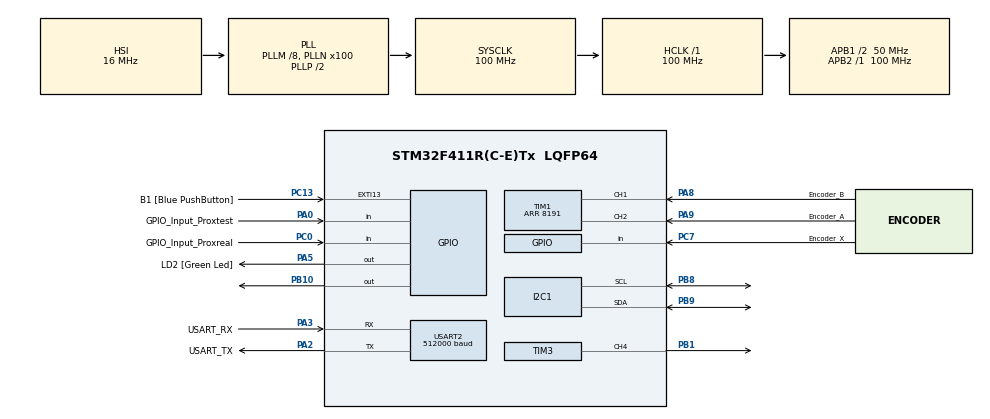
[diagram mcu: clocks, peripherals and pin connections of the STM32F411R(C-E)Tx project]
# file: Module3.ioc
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Mcu.Family=STM32F4
RCC.CortexFreq_Value=100000000
Dma.USART2_TX.1.MemInc=DMA_MINC_ENABLE
PA14.GPIO_Label=TCK
USART2.Parity=PARITY_EVEN
PC0.GPIO_Label=GPIO_Input_Proxreal
TIM1.EncoderMode=TIM_ENCODERMODE_TI12
TIM3.Channel-PWM\ Generation4\ CH4=TIM_CHANNEL_4
RCC.SYSCLKSource=RCC_SYSCLKSOURCE_PLLCLK
ProjectManager.StackSize=0x400
PH0\ -\ OSC_IN.Signal=RCC_OSC_IN
Dma.USART2_RX.0.Priority=DMA_PRIORITY_LOW
Dma.USART2_RX.0.PeriphDataAlignment=DMA_PDATAALIGN_BYTE
RCC.HCLKFreq_Value=100000000
RCC.APB2TimFreq_Value=100000000
TIM3.Period=10000
PC7.Signal=GPIO_Input
Dma.USART2_TX.1.Mode=DMA_NORMAL
RCC.AHBFreq_Value=100000000
NVIC.EXTI15_10_IRQn=true\:0\:0\:false\:false\:true\:true\:true
RCC.HSE_VALUE=8000000
PC13-ANTI_TAMP.Signal=GPXTI13
Dma.USART2_RX.0.MemDataAlignment=DMA_MDATAALIGN_BYTE
PC14-OSC32_IN.Mode=LSE-External-Oscillator
PA14.Mode=Serial_Wire
Dma.USART2_TX.1.Instance=DMA1_Stream6
NVIC.TIM2_IRQn=true\:0\:0\:false\:false\:true\:true\:true
Dma.USART2_RX.0.Instance=DMA1_Stream5
PA8.Signal=S_TIM1_CH1
TIM4.Period=1000
RCC.FLatency-AdvancedSettings=FLASH_LATENCY_3
PB9.Signal=I2C1_SDA
Mcu.Package=LQFP64
TIM2.Prescaler=99
PB1.Signal=S_TIM3_CH4
Dma.USART2_RX.0.PeriphInc=DMA_PINC_DISABLE
USART2.VirtualMode=VM_ASYNC
Dma.USART2_RX.0.FIFOMode=DMA_FIFOMODE_DISABLE
PA2.GPIO_Label=USART_TX
USART2.WordLength=WORDLENGTH_9B
Dma.Request1=USART2_TX
RCC.APB1TimFreq_Value=100000000
TIM1.Period=8191
NVIC.DMA1_Stream6_IRQn=true\:0\:0\:false\:false\:true\:false\:true
Dma.Request0=USART2_RX
VP_TIM3_VS_ClockSourceINT.Mode=Internal
PA3.Signal=USART2_RX
PB3.GPIO_Label=SWO
PC15-OSC32_OUT.Mode=LSE-External-Oscillator
Dma.USART2_TX.1.Priority=DMA_PRIORITY_LOW
TIM2.CounterMode=TIM_COUNTERMODE_UP
Dma.USART2_TX.1.FIFOMode=DMA_FIFOMODE_DISABLE
PC13-ANTI_TAMP.GPIO_Label=B1 [Blue PushButton]
PA9.GPIO_Label=Encoder_A
PH1\ -\ OSC_OUT.Mode=HSE-External-Clock-Source
Dma.USART2_RX.0.Direction=DMA_PERIPH_TO_MEMORY
PC0.Signal=GPIO_Input
RCC.APB1CLKDivider=RCC_HCLK_DIV2
PC14-OSC32_IN.Signal=RCC_OSC32_IN
Dma.USART2_TX.1.PeriphDataAlignment=DMA_PDATAALIGN_BYTE
NVIC.USART2_IRQn=true\:0\:0\:false\:false\:true\:true\:true
USART2.BaudRate=512000
PA0-WKUP.GPIO_Label=GPIO_Input_Proxtest
PA0-WKUP.Signal=GPIO_Input
Dma.USART2_RX.0.Mode=DMA_CIRCULAR
PA3.Mode=Asynchronous
PA13.Signal=SYS_JTMS-SWDIO
PH0\ -\ OSC_IN.Mode=HSE-External-Clock-Source
PA8.GPIO_Label=Encoder_B
SH.S_TIM1_CH1.0=TIM1_CH1,Encoder_Interface
ProjectManager.TargetToolchain=STM32CubeIDE
NVIC.DMA1_Stream5_IRQn=true\:0\:0\:false\:false\:true\:false\:true
PB9.Mode=I2C
PA9.Signal=S_TIM1_CH2
PC15-OSC32_OUT.Signal=RCC_OSC32_OUT
PB10.Signal=GPIO_Output
PA5.Signal=GPIO_Output
PH1\ -\ OSC_OUT.Signal=RCC_OSC_OUT
Dma.USART2_TX.1.PeriphInc=DMA_PINC_DISABLE
board=NUCLEO-F411RE
RCC.VCOOutputFreq_Value=200000000
Dma.USART2_TX.1.Direction=DMA_MEMORY_TO_PERIPH
RCC.APB2Freq_Value=100000000
SH.S_TIM1_CH2.0=TIM1_CH2,Encoder_Interface
VP_TIM2_VS_ClockSourceINT.Mode=Internal
PA13.Mode=Serial_Wire
Mcu.Name=STM32F411R(C-E)Tx
Dma.USART2_RX.0.MemInc=DMA_MINC_ENABLE
PA2.Signal=USART2_TX
PA13.GPIO_Label=TMS
PC7.GPIO_Label=Encoder_X
RCC.48MHZClocksFreq_Value=50000000
PB3.Signal=SYS_JTDO-SWO
RCC.SYSCLKFreq_VALUE=100000000
PA5.GPIO_Label=LD2 [Green Led]
PC13-ANTI_TAMP.GPIO_ModeDefaultEXTI=GPIO_MODE_IT_FALLING
PA14.Signal=SYS_JTCK-SWCLK
ProjectManager.HeapSize=0x200
RCC.HSI_VALUE=16000000
VP_TIM4_VS_ClockSourceINT.Mode=Internal
NVIC.PriorityGroup=NVIC_PRIORITYGROUP_0
RCC.PLLM=8
PB8.Mode=I2C
RCC.PLLN=100
PA2.Mode=Asynchronous
PB8.Signal=I2C1_SCL
Dma.USART2_TX.1.MemDataAlignment=DMA_MDATAALIGN_BYTE
NVIC.TIM4_IRQn=true\:0\:0\:false\:false\:true\:true\:true
RCC.APB1Freq_Value=50000000
PA3.GPIO_Label=USART_RX
SH.S_TIM3_CH4.0=TIM3_CH4,PWM Generation4 CH4

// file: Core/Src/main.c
/* USER CODE BEGIN Header */
/**
  ******************************************************************************
  * @file           : main.c
  * @brief          : Main program body
  ******************************************************************************
  * @attention
  *
  * <h2><center>&copy; Copyright (c) 2021 STMicroelectronics.
  * All rights reserved.</center></h2>
  *
  * This software component is licensed by ST under BSD 3-Clause license,
  * the "License"; You may not use this file except in compliance with the
  * License. You may obtain a copy of the License at:
  *                        opensource.org/licenses/BSD-3-Clause
  *
  ******************************************************************************
  */
/* USER CODE END Header */
#include "main.h"

/* USER CODE BEGIN Includes */
#include "math.h"
#include "string.h"
#include "stdio.h"
#include <stdlib.h>

/* USER CODE END Includes */

/* USER CODE BEGIN PD */
#define PWM_CHANNEL TIM_CHANNEL_4			//Set channel for PWM
#define GPIO_PIN_DIRECTION GPIO_PIN_10		//Set pin for direction

/* USER CODE END PD */

I2C_HandleTypeDef hi2c1;

TIM_HandleTypeDef htim1;
TIM_HandleTypeDef htim2;
TIM_HandleTypeDef htim3;
TIM_HandleTypeDef htim4;

UART_HandleTypeDef huart2;
DMA_HandleTypeDef hdma_usart2_rx;
DMA_HandleTypeDef hdma_usart2_tx;

/* USER CODE BEGIN PV */

uint8_t Connected = 1;
uint8_t Effector_On = 0;
uint8_t Error = 0;

uint64_t _micros = 0;				//Keep track of time
uint64_t Time_Sampling_Stamp = 0;	//Control loop time stamp
uint64_t Time_Measure_Stamp = 0;
uint16_t Encoder_Resolution = 8192; //2048*4
uint16_t Encoder_Overflow = 4096;	//8192/2
float pi = 3.14159;			//value of pi
const uint16_t Station_List[10] = {0,30,60,90,120,150,180,210,240,270};
uint8_t Current_Station = 1;
uint8_t Next_Station = 1;
uint8_t N_Goal = 0;
uint8_t Goal_Count = 0;
uint8_t Goal_List[20] = {0};
uint8_t GO = 0;

//Velocity Control
float Velocity_Max_RPM = 10;
float Velocity_Read_Encoder = 0;  		//Encoder's velocity Calculated from "Encoder_Velocity_Update()" in pulse per second
float Velocity_Now_RPM = 0;			//Encoder's velocity Calculated from "Encoder_Velocity_Update()" in RPM
float Velocity_Now_Rad = 0;
float Velocity_Want_RPM = 0;		//Velocity calculated for control motor at the time
int16_t PWM_Out = 0;				//PWM for motor
int16_t PWM_Out_Pre = 0;

//Position Control
float Position_Read_Encoder = 0;  		//Encoder's now position in CNT
float Position_Now_Degree = 0;		//Encoder's now position in degree
float Position_Now_Rad = 0;
float Position_Want_Rad = 0;		//Position of the end point in radian
float Position_Want_Degree = 0;		//Position of the end point in degree
float Position_Prev_Degree = 0;		//Check that Position_Want_Degree changed or not

//Mai's part debug
//quintic polynomial

//requirement
float angle_rad_start = 0; //rad
float angle_rad_stop = 0; //rad
float omega_max = 1; // 1 rad/s = 10 rpm
float alpha_max = 0.5; // rad/s^2
//find time duration for each viapoint
float tau_max = 0; // sec
float time_initial = 0; //initial time of each viapoint

//coeffient parameter
float c_0 = 0;
float c_1 = 0;
float c_2 = 0;
float c_3 = 0;
float c_4 = 0;
float c_5 = 0;

//parameter
uint8_t initial = 1;
float tau = 0; //sec
uint8_t quintic_end = 0;

//position control
float desired_position = 0;
float error_position = 0;
float error_position_diff = 0;
float error_position_int = 0;
float error_position_prev = 0;
float position_kp = 1;
float position_ki = 0;
float position_kd = 0;
float position_bias = 0;

//velocity control
float command_velocity = 0;
float desired_velocity = 0;
float error_velocity = 0;
float error_velocity_diff = 0;
float error_velocity_int = 0;
float error_velocity_prev = 0;
float velocity_kp = 9000;
float velocity_ki = 8000;
float velocity_kd = 10;
float velocity_bias = 0;

//kalman filter MAI
float theta_predict = 0;
float omega_predict = 0;
float theta_estimate = 0;
float omega_estimate = 0;
float p_predict11 = 0 ;
float p_predict12 = 0 ;
float p_predict21 = 0 ;
float p_predict22 = 0 ;
float p_estimate11 = 1 ;
float p_estimate12 = 0 ;
float p_estimate21 = 0 ;
float p_estimate22 = 1 ;
float z_predict = 0;
float s = 0;
float k11 = 0;
float k21 = 0;
uint64_t Prox_Delay = 0;
uint64_t Time_Delay = 0;
int i = 0;
int j = 0;
uint16_t Delay = 0;

//Kalman_Filter Ryuu
float Sigma_a = 14;
float Sigma_w = 0.8;
float Q = 0;
float R = 0;
const float CON_T = 0.001;

//set home
int set_home_state = 0; //set home first
GPIO_PinState Proximity[2]; //save proximity state
int set_home_finished = 0; //already to control
float save_angle = 0; //save angle that proximity detects robot arm
int find_proximity = 0;
uint8_t STATE_DISPLAY = 0;
uint8_t previous_state = 0;
uint8_t clear_counter_velocity = 0;
uint8_t clear_counter_position = 0;

enum State_Display{
//	SetHome_180_1 = 0,
//	SetHome_180_2,
//	Quintic,
//	Go_to_proximity,

	FindPorximity = 0,
	FoundProximity,
	GotoProximity,
	QinticStaff,
	QinticFinish,
};

//UART Protocol
typedef struct _UartStructure
{
	UART_HandleTypeDef *huart;
	uint16_t TxLen, RxLen;
	uint8_t *TxBuffer;
	uint16_t TxTail, TxHead;
	uint8_t *RxBuffer;
	uint16_t RxTail; //RXHeadUseDMA

} UARTStucrture;
uint8_t UART_Ack1[2] = {88,117};
uint8_t UART_Ack2[2] = {70,110};
UARTStucrture UART2 = {0};
uint8_t N_Data = 0;
uint8_t Data_List[] = {0, 0};

typedef enum
{
	Start_Mode,
	N_Station,
	Data_Frame,
	Check_Sum,
}UART_State;

typedef enum
{
	Ack2 = 70,
	Ack1 = 88,
	Test_Command = 145,
	Connect_MCU,
	Disconnect_MCU,
	Velocity_Set,
	Position_Set,
	Goal_1_Set,
	Goal_N_Set,
	Go_to_Goal,
	Station_Request,
	Position_Request,
	Velocity_Request,
	Gripper_On,
	Gripper_Off,
	Home_Set
}UART_Mode;

UART_State State = Start_Mode;
UART_Mode Mode = 144;
uint8_t Frame;
uint8_t N;
uint8_t Sum;
uint8_t len;

//I2C
uint16_t Address = 0x23;
uint16_t Regis_Open = 0x45;
uint16_t Regis_Prepare = 0x23;
uint16_t Regis_Read = 0;
/* USER CODE END PV */

void SystemClock_Config(void);
static void MX_GPIO_Init(void);
static void MX_DMA_Init(void);
static void MX_USART2_UART_Init(void);
static void MX_TIM1_Init(void);
static void MX_TIM3_Init(void);
static void MX_TIM2_Init(void);
static void MX_I2C1_Init(void);
static void MX_TIM4_Init(void);
/* USER CODE BEGIN PFP */
uint64_t micros();

float Encoder_Velocity_Update();	//Read Encoder position and calculate into velocity
void Kalman_Filter();

void UARTInit(UARTStucrture *uart);
void UARTResetStart(UARTStucrture *uart);
uint32_t UARTGetRxHead(UARTStucrture *uart);
int16_t UARTReadChar(UARTStucrture *uart);
void UARTTxDumpBuffer(UARTStucrture *uart);
void UARTTxWrite(UARTStucrture *uart, uint8_t *pData, uint16_t len);
void UART_Protocol(UARTStucrture *uart, int16_t dataIn);
void UART_Do_Command();

uint8_t Decimal2High(uint16_t integer);
uint8_t Decimal2Low(uint16_t integer);
uint16_t HighLow2Decimal(uint8_t high_byte, uint8_t low_byte);

//Mai function
void cascade_control_with_feed_forward();
void quintic();
float Encoder_Position_Update();	//Read Encoder position unwrap
void Home_Setting();

/* USER CODE END PFP */

int main(void)
{

  /* MCU Configuration--------------------------------------------------------*/

  /* Reset of all peripherals, Initializes the Flash interface and the Systick. */
  HAL_Init();

  /* Configure the system clock */
  SystemClock_Config();

  /* Initialize all configured peripherals */
  MX_GPIO_Init();
  MX_DMA_Init();
  MX_USART2_UART_Init();
  MX_TIM1_Init();
  MX_TIM3_Init();
  MX_TIM2_Init();
  MX_I2C1_Init();
  MX_TIM4_Init();
  /* USER CODE BEGIN 2 */
  HAL_TIM_Base_Start_IT(&htim2);					//micros()
  HAL_TIM_Encoder_Start(&htim1, TIM_CHANNEL_ALL);   //Start reading encoder
  HAL_TIM_Base_Start(&htim3);						//Start TIM3
  HAL_TIM_PWM_Start(&htim3, TIM_CHANNEL_4);			//Start PWM TIM3

  UART2.huart = &huart2;
  UART2.RxLen = 255;
  UART2.TxLen = 255;
  UARTInit(&UART2);
  UARTResetStart(&UART2);

  /* USER CODE END 2 */

  /* Infinite loop */
  while (1)
  {

    /* USER CODE BEGIN 3 */

	  	int16_t inputChar = UARTReadChar(&UART2);
	  	if (inputChar != -1)
	  	{
	  		len+=1;
	  		UART_Protocol(&UART2, inputChar);
	  	}

	  	if (micros() - Time_Measure_Stamp >= 100) //measurement
		{
	  		Time_Measure_Stamp = micros();
	  		Velocity_Read_Encoder = (Velocity_Read_Encoder*9999 + Encoder_Velocity_Update())/(float)10000; //pulse per sec
//		  	Velocity_Read_Encoder = Encoder_Velocity_Update();
	  		Velocity_Now_RPM = (Velocity_Read_Encoder*60)/Encoder_Resolution;	//Convert Velocity_Read_Encoder (Encoder's velocity at the moment) to RPM
	  		Velocity_Now_Rad = (Velocity_Now_RPM*2*pi)/60;

	  		//read position
//		 	Position_Read_Encoder = htim1.Instance->CNT;
	  		Position_Read_Encoder = Encoder_Position_Update();
	  		Position_Now_Rad = (Position_Read_Encoder*2*M_PI)/Encoder_Resolution;  //rad
		}

	  	if (micros() - Time_Sampling_Stamp >= 1000)	  //Control loop
	  	{
			PWM_Out_Pre = PWM_Out;
			Time_Sampling_Stamp = micros();

			//frang code set home
			Proximity[1] = Proximity[0];
			Proximity[0] = HAL_GPIO_ReadPin(GPIO_Input_Proxreal_GPIO_Port, GPIO_Input_Proxreal_Pin);

			if (set_home_finished == 0)
			{
				//Home_Setting();
				set_home_finished = 1;
			}
			else
			{
				if (GO == 1)
				{
					quintic();
					if(initial == 1)
					{

						Effector_On = 1;
						Current_Station = Next_Station;
						if(N_Goal == 0)
						{
							GO = 0;
							UARTTxWrite(&UART2, UART_Ack2, 2);
							HAL_Delay(1);
						}
						else
						{
							Goal_Count -= 1;
							if (Goal_Count == 0)
							{
								GO = 0;
								UARTTxWrite(&UART2, UART_Ack2, 2);
								HAL_Delay(1);
								for (uint8_t i=0; i< 20; i++)
								{
									Goal_List[i] = 0;
								}
								N_Goal = 0;
							}
							else
							{
								Next_Station = Goal_List[N_Goal-Goal_Count];
								angle_rad_stop = (float)Station_List[Next_Station-1]*pi/180;
							}
						}

					}

				}

			}
	  	}
	  	if (Effector_On)
		{
			HAL_I2C_Master_Transmit(&hi2c1, Address << 1, &Regis_Open, 1, 200);
			HAL_Delay(5000);
			HAL_I2C_Master_Transmit(&hi2c1, Address << 1, &Regis_Prepare, 1, 200);
			HAL_I2C_Master_Receive(&hi2c1, Address << 1, &Regis_Read, 1, 200);
			while (Regis_Read != 0x78)
			{
				HAL_Delay(500);
				HAL_I2C_Master_Transmit(&hi2c1, Address << 1, &Regis_Prepare, 1, 200);
				HAL_I2C_Master_Receive(&hi2c1, Address << 1, &Regis_Read, 1, 200);
			}
			Effector_On = 0;
		}
  }
  /* USER CODE END 3 */
}

void SystemClock_Config(void)
{
  RCC_OscInitTypeDef RCC_OscInitStruct = {0};
  RCC_ClkInitTypeDef RCC_ClkInitStruct = {0};

  /** Configure the main internal regulator output voltage
  */
  __HAL_RCC_PWR_CLK_ENABLE();
  __HAL_PWR_VOLTAGESCALING_CONFIG(PWR_REGULATOR_VOLTAGE_SCALE1);
  /** Initializes the RCC Oscillators according to the specified parameters
  * in the RCC_OscInitTypeDef structure.
  */
  RCC_OscInitStruct.OscillatorType = RCC_OSCILLATORTYPE_HSI;
  RCC_OscInitStruct.HSIState = RCC_HSI_ON;
  RCC_OscInitStruct.HSICalibrationValue = RCC_HSICALIBRATION_DEFAULT;
  RCC_OscInitStruct.PLL.PLLState = RCC_PLL_ON;
  RCC_OscInitStruct.PLL.PLLSource = RCC_PLLSOURCE_HSI;
  RCC_OscInitStruct.PLL.PLLM = 8;
  RCC_OscInitStruct.PLL.PLLN = 100;
  RCC_OscInitStruct.PLL.PLLP = RCC_PLLP_DIV2;
  RCC_OscInitStruct.PLL.PLLQ = 4;
  if (HAL_RCC_OscConfig(&RCC_OscInitStruct) != HAL_OK)
  {
    Error_Handler();
  }
  /** Initializes the CPU, AHB and APB buses clocks
  */
  RCC_ClkInitStruct.ClockType = RCC_CLOCKTYPE_HCLK|RCC_CLOCKTYPE_SYSCLK
                              |RCC_CLOCKTYPE_PCLK1|RCC_CLOCKTYPE_PCLK2;
  RCC_ClkInitStruct.SYSCLKSource = RCC_SYSCLKSOURCE_PLLCLK;
  RCC_ClkInitStruct.AHBCLKDivider = RCC_SYSCLK_DIV1;
  RCC_ClkInitStruct.APB1CLKDivider = RCC_HCLK_DIV2;
  RCC_ClkInitStruct.APB2CLKDivider = RCC_HCLK_DIV1;

  if (HAL_RCC_ClockConfig(&RCC_ClkInitStruct, FLASH_LATENCY_3) != HAL_OK)
  {
    Error_Handler();
  }
}

static void MX_I2C1_Init(void)
{

  hi2c1.Instance = I2C1;
  hi2c1.Init.ClockSpeed = 100000;
  hi2c1.Init.DutyCycle = I2C_DUTYCYCLE_2;
  hi2c1.Init.OwnAddress1 = 0;
  hi2c1.Init.AddressingMode = I2C_ADDRESSINGMODE_7BIT;
  hi2c1.Init.DualAddressMode = I2C_DUALADDRESS_DISABLE;
  hi2c1.Init.OwnAddress2 = 0;
  hi2c1.Init.GeneralCallMode = I2C_GENERALCALL_DISABLE;
  hi2c1.Init.NoStretchMode = I2C_NOSTRETCH_DISABLE;
  if (HAL_I2C_Init(&hi2c1) != HAL_OK)
  {
    Error_Handler();
  }

}

static void MX_TIM1_Init(void)
{

  TIM_Encoder_InitTypeDef sConfig = {0};
  TIM_MasterConfigTypeDef sMasterConfig = {0};

  htim1.Instance = TIM1;
  htim1.Init.Prescaler = 0;
  htim1.Init.CounterMode = TIM_COUNTERMODE_UP;
  htim1.Init.Period = 8191;
  htim1.Init.ClockDivision = TIM_CLOCKDIVISION_DIV1;
  htim1.Init.RepetitionCounter = 0;
  htim1.Init.AutoReloadPreload = TIM_AUTORELOAD_PRELOAD_DISABLE;
  sConfig.EncoderMode = TIM_ENCODERMODE_TI12;
  sConfig.IC1Polarity = TIM_ICPOLARITY_RISING;
  sConfig.IC1Selection = TIM_ICSELECTION_DIRECTTI;
  sConfig.IC1Prescaler = TIM_ICPSC_DIV1;
  sConfig.IC1Filter = 0;
  sConfig.IC2Polarity = TIM_ICPOLARITY_RISING;
  sConfig.IC2Selection = TIM_ICSELECTION_DIRECTTI;
  sConfig.IC2Prescaler = TIM_ICPSC_DIV1;
  sConfig.IC2Filter = 0;
  if (HAL_TIM_Encoder_Init(&htim1, &sConfig) != HAL_OK)
  {
    Error_Handler();
  }
  sMasterConfig.MasterOutputTrigger = TIM_TRGO_RESET;
  sMasterConfig.MasterSlaveMode = TIM_MASTERSLAVEMODE_DISABLE;
  if (HAL_TIMEx_MasterConfigSynchronization(&htim1, &sMasterConfig) != HAL_OK)
  {
    Error_Handler();
  }

}

static void MX_TIM2_Init(void)
{

  TIM_ClockConfigTypeDef sClockSourceConfig = {0};
  TIM_MasterConfigTypeDef sMasterConfig = {0};

  htim2.Instance = TIM2;
  htim2.Init.Prescaler = 99;
  htim2.Init.CounterMode = TIM_COUNTERMODE_UP;
  htim2.Init.Period = 4294967295;
  htim2.Init.ClockDivision = TIM_CLOCKDIVISION_DIV1;
  htim2.Init.AutoReloadPreload = TIM_AUTORELOAD_PRELOAD_DISABLE;
  if (HAL_TIM_Base_Init(&htim2) != HAL_OK)
  {
    Error_Handler();
  }
  sClockSourceConfig.ClockSource = TIM_CLOCKSOURCE_INTERNAL;
  if (HAL_TIM_ConfigClockSource(&htim2, &sClockSourceConfig) != HAL_OK)
  {
    Error_Handler();
  }
  sMasterConfig.MasterOutputTrigger = TIM_TRGO_RESET;
  sMasterConfig.MasterSlaveMode = TIM_MASTERSLAVEMODE_DISABLE;
  if (HAL_TIMEx_MasterConfigSynchronization(&htim2, &sMasterConfig) != HAL_OK)
  {
    Error_Handler();
  }
  /* USER CODE BEGIN TIM2_Init 2 */
  __HAL_TIM_CLEAR_FLAG(&htim2, TIM_SR_UIF);

  /* USER CODE END TIM2_Init 2 */

}

static void MX_TIM3_Init(void)
{

  TIM_ClockConfigTypeDef sClockSourceConfig = {0};
  TIM_MasterConfigTypeDef sMasterConfig = {0};
  TIM_OC_InitTypeDef sConfigOC = {0};

  htim3.Instance = TIM3;
  htim3.Init.Prescaler = 0;
  htim3.Init.CounterMode = TIM_COUNTERMODE_UP;
  htim3.Init.Period = 10000;
  htim3.Init.ClockDivision = TIM_CLOCKDIVISION_DIV1;
  htim3.Init.AutoReloadPreload = TIM_AUTORELOAD_PRELOAD_DISABLE;
  if (HAL_TIM_Base_Init(&htim3) != HAL_OK)
  {
    Error_Handler();
  }
  sClockSourceConfig.ClockSource = TIM_CLOCKSOURCE_INTERNAL;
  if (HAL_TIM_ConfigClockSource(&htim3, &sClockSourceConfig) != HAL_OK)
  {
    Error_Handler();
  }
  if (HAL_TIM_PWM_Init(&htim3) != HAL_OK)
  {
    Error_Handler();
  }
  sMasterConfig.MasterOutputTrigger = TIM_TRGO_RESET;
  sMasterConfig.MasterSlaveMode = TIM_MASTERSLAVEMODE_DISABLE;
  if (HAL_TIMEx_MasterConfigSynchronization(&htim3, &sMasterConfig) != HAL_OK)
  {
    Error_Handler();
  }
  sConfigOC.OCMode = TIM_OCMODE_PWM1;
  sConfigOC.Pulse = 0;
  sConfigOC.OCPolarity = TIM_OCPOLARITY_HIGH;
  sConfigOC.OCFastMode = TIM_OCFAST_DISABLE;
  if (HAL_TIM_PWM_ConfigChannel(&htim3, &sConfigOC, TIM_CHANNEL_4) != HAL_OK)
  {
    Error_Handler();
  }
  HAL_TIM_MspPostInit(&htim3);

}

static void MX_TIM4_Init(void)
{

  TIM_ClockConfigTypeDef sClockSourceConfig = {0};
  TIM_MasterConfigTypeDef sMasterConfig = {0};

  htim4.Instance = TIM4;
  htim4.Init.Prescaler = 0;
  htim4.Init.CounterMode = TIM_COUNTERMODE_UP;
  htim4.Init.Period = 1000;
  htim4.Init.ClockDivision = TIM_CLOCKDIVISION_DIV1;
  htim4.Init.AutoReloadPreload = TIM_AUTORELOAD_PRELOAD_DISABLE;
  if (HAL_TIM_Base_Init(&htim4) != HAL_OK)
  {
    Error_Handler();
  }
  sClockSourceConfig.ClockSource = TIM_CLOCKSOURCE_INTERNAL;
  if (HAL_TIM_ConfigClockSource(&htim4, &sClockSourceConfig) != HAL_OK)
  {
    Error_Handler();
  }
  sMasterConfig.MasterOutputTrigger = TIM_TRGO_RESET;
  sMasterConfig.MasterSlaveMode = TIM_MASTERSLAVEMODE_DISABLE;
  if (HAL_TIMEx_MasterConfigSynchronization(&htim4, &sMasterConfig) != HAL_OK)
  {
    Error_Handler();
  }

}

static void MX_USART2_UART_Init(void)
{

  huart2.Instance = USART2;
  huart2.Init.BaudRate = 512000;
  huart2.Init.WordLength = UART_WORDLENGTH_9B;
  huart2.Init.StopBits = UART_STOPBITS_1;
  huart2.Init.Parity = UART_PARITY_EVEN;
  huart2.Init.Mode = UART_MODE_TX_RX;
  huart2.Init.HwFlowCtl = UART_HWCONTROL_NONE;
  huart2.Init.OverSampling = UART_OVERSAMPLING_16;
  if (HAL_UART_Init(&huart2) != HAL_OK)
  {
    Error_Handler();
  }

}

static void MX_DMA_Init(void)
{

  /* DMA controller clock enable */
  __HAL_RCC_DMA1_CLK_ENABLE();

  /* DMA interrupt init */
  /* DMA1_Stream5_IRQn interrupt configuration */
  HAL_NVIC_SetPriority(DMA1_Stream5_IRQn, 0, 0);
  HAL_NVIC_EnableIRQ(DMA1_Stream5_IRQn);
  /* DMA1_Stream6_IRQn interrupt configuration */
  HAL_NVIC_SetPriority(DMA1_Stream6_IRQn, 0, 0);
  HAL_NVIC_EnableIRQ(DMA1_Stream6_IRQn);

}

static void MX_GPIO_Init(void)
{
  GPIO_InitTypeDef GPIO_InitStruct = {0};

  /* GPIO Ports Clock Enable */
  __HAL_RCC_GPIOC_CLK_ENABLE();
  __HAL_RCC_GPIOH_CLK_ENABLE();
  __HAL_RCC_GPIOA_CLK_ENABLE();
  __HAL_RCC_GPIOB_CLK_ENABLE();

  /*Configure GPIO pin Output Level */
  HAL_GPIO_WritePin(LD2_GPIO_Port, LD2_Pin, GPIO_PIN_RESET);

  /*Configure GPIO pin Output Level */
  HAL_GPIO_WritePin(GPIOB, GPIO_PIN_10, GPIO_PIN_RESET);

  /*Configure GPIO pin : B1_Pin */
  GPIO_InitStruct.Pin = B1_Pin;
  GPIO_InitStruct.Mode = GPIO_MODE_IT_FALLING;
  GPIO_InitStruct.Pull = GPIO_NOPULL;
  HAL_GPIO_Init(B1_GPIO_Port, &GPIO_InitStruct);

  /*Configure GPIO pins : GPIO_Input_Proxreal_Pin Encoder_X_Pin */
  GPIO_InitStruct.Pin = GPIO_Input_Proxreal_Pin|Encoder_X_Pin;
  GPIO_InitStruct.Mode = GPIO_MODE_INPUT;
  GPIO_InitStruct.Pull = GPIO_NOPULL;
  HAL_GPIO_Init(GPIOC, &GPIO_InitStruct);

  /*Configure GPIO pin : GPIO_Input_Proxtest_Pin */
  GPIO_InitStruct.Pin = GPIO_Input_Proxtest_Pin;
  GPIO_InitStruct.Mode = GPIO_MODE_INPUT;
  GPIO_InitStruct.Pull = GPIO_NOPULL;
  HAL_GPIO_Init(GPIO_Input_Proxtest_GPIO_Port, &GPIO_InitStruct);

  /*Configure GPIO pin : LD2_Pin */
  GPIO_InitStruct.Pin = LD2_Pin;
  GPIO_InitStruct.Mode = GPIO_MODE_OUTPUT_PP;
  GPIO_InitStruct.Pull = GPIO_NOPULL;
  GPIO_InitStruct.Speed = GPIO_SPEED_FREQ_LOW;
  HAL_GPIO_Init(LD2_GPIO_Port, &GPIO_InitStruct);

  /*Configure GPIO pin : PB10 */
  GPIO_InitStruct.Pin = GPIO_PIN_10;
  GPIO_InitStruct.Mode = GPIO_MODE_OUTPUT_PP;
  GPIO_InitStruct.Pull = GPIO_NOPULL;
  GPIO_InitStruct.Speed = GPIO_SPEED_FREQ_LOW;
  HAL_GPIO_Init(GPIOB, &GPIO_InitStruct);

  /* EXTI interrupt init*/
  HAL_NVIC_SetPriority(EXTI15_10_IRQn, 0, 0);
  HAL_NVIC_EnableIRQ(EXTI15_10_IRQn);

}

/* USER CODE BEGIN 4 */
float Encoder_Velocity_Update()  //Lecture code DON'T TOUCH!
{
	//Save Last state
	static uint32_t EncoderLastPosition = 0;
	static uint64_t EncoderLastTimestamp = 0;
//	static uint32_t EncoderLastOffset = 0;

	//read data
//	uint32_t EncoderNowPosition = htim1.Instance->CNT; //pulse
	uint32_t EncoderNowPosition = Encoder_Position_Update(); //use position from unwarp
	uint64_t EncoderNowTimestamp = micros();
//	uint32_t EncoderNowOffset = 0;

	int32_t EncoderPositionDiff;
	uint64_t EncoderTimeDiff;

	EncoderTimeDiff = EncoderNowTimestamp - EncoderLastTimestamp;
	EncoderPositionDiff = EncoderNowPosition - EncoderLastPosition;
	if (clear_counter_velocity == 1)
	{
		clear_counter_velocity = 0;
		EncoderNowPosition = 0;
		EncoderLastPosition = 0;
	}

	//compensate overflow and underflow
//	if (EncoderPositionDiff >= Encoder_Overflow)
//	{
//		EncoderPositionDiff -= Encoder_Resolution;
//
//		//write new unwrapping
////		EncoderNowOffset = EncoderLastOffset - Encoder_Resolution;
////		EncoderPositionDiff = EncoderPositionDiff + EncoderNowOffset;
//		//EncoderPositionDiff -= 57344;
//	}
//	else if (-EncoderPositionDiff >= Encoder_Overflow)
//	{
//		EncoderPositionDiff += Encoder_Resolution;
//
////		write new unwrap
////		EncoderNowOffset = EncoderLastOffset + Encoder_Resolution;
////		EncoderPositionDiff = EncoderPositionDiff + EncoderNowOffset;
//		//EncoderPositionDiff += 57344;
//	}

	//Update Position and time
	EncoderLastPosition = EncoderNowPosition;
	EncoderLastTimestamp = EncoderNowTimestamp;
//	EncoderLastOffset = EncoderNowOffset;

	//Calculate velocity
	//EncoderTimeDiff is in uS
	return (EncoderPositionDiff * 1000000) / (float) EncoderTimeDiff;
}
float Encoder_Position_Update()  //Lecture code DON'T TOUCH!
{
	//Save Last state
	//read data
	static uint32_t EncoderPreviousPosition = 0;
	uint32_t EncoderCurrentPosition = 0;
	int32_t EncoderPositionDifferent;
	int32_t EncoderUnwrapPosition ;
	static uint32_t EncoderPreviousOffset = 0;
	static uint32_t EncoderCurrentOffset = 0;

	EncoderCurrentPosition = htim1.Instance->CNT; //pulse

	//delta position = current - previous
	EncoderPositionDifferent = EncoderCurrentPosition - EncoderPreviousPosition;
	//signal = current + current offset
	EncoderUnwrapPosition = EncoderCurrentPosition + EncoderCurrentOffset;

	if (clear_counter_position == 1)
	{
		clear_counter_position = 0;
		EncoderPreviousPosition = 0;
		EncoderCurrentPosition = 0;
		EncoderPreviousOffset = 0;
		EncoderCurrentOffset = 0;
		EncoderUnwrapPosition = 0;
		EncoderPositionDifferent = 0;
	}

	//compensate overflow and underflow
	if (EncoderPositionDifferent >= Encoder_Overflow)
	{
//		EncoderPositionDiff -= Encoder_Resolution;
//		EncoderUnwrapPosition = EncoderCurrentPosition - Encoder_Resolution;

//		write new unwrapping
		//current offset = previous offset - resolution of encoder max
		EncoderCurrentOffset = EncoderPreviousOffset - Encoder_Resolution;
		//signal = current + current offset
		EncoderUnwrapPosition = EncoderCurrentPosition + EncoderCurrentOffset;
//		EncoderPositionDiff -= 57344;
	}
	else if (-EncoderPositionDifferent >= Encoder_Overflow)
	{
//		EncoderPositionDiff += Encoder_Resolution;
//		EncoderUnwrapPosition = EncoderCurrentPosition + Encoder_Resolution;

//		write new unwrap
		EncoderCurrentOffset = EncoderPreviousOffset + Encoder_Resolution;
		EncoderUnwrapPosition = EncoderCurrentPosition + EncoderCurrentOffset;
//		EncoderPositionDiff += 57344;
	}

	//Update Position and time
	EncoderPreviousPosition = EncoderCurrentPosition;
	EncoderPreviousOffset = EncoderCurrentOffset;

	//Calculate velocity
	//EncoderTimeDiff is in uS
	return EncoderUnwrapPosition  ;
}
void quintic()
{
	if (initial == 1 && angle_rad_stop - angle_rad_start != 0)
	{
		//calculate tau
		//short if condition
		tau_max = 15/8*(angle_rad_stop - angle_rad_start)/omega_max >= sqrtf(abs(((10*powf(3+sqrtf(3),1))-(5*powf(3+sqrtf(3),2))+(5*powf(3+sqrtf(3),3)/9))*(angle_rad_stop-angle_rad_start)/alpha_max)) ? 15/8*(angle_rad_stop - angle_rad_start)/omega_max : sqrtf(abs(((10*powf(3+sqrtf(3),1))-(5*powf(3+sqrtf(3),2))+(5*powf(3+sqrtf(3),3)/9))*(angle_rad_stop-angle_rad_start)/alpha_max));

		//calculate coeffient
		c_0 = angle_rad_start;
		c_1 = 0;
		c_2 = 0;
		c_3 = 10*((angle_rad_stop - angle_rad_start)/(powf(tau_max,3)));
		c_4 = 15*((angle_rad_start - angle_rad_stop)/(powf(tau_max,4)));
		c_5 = 6*((angle_rad_stop - angle_rad_start)/(powf(tau_max,5)));
		//save initial time
		//change microsec to second
		time_initial = micros()/1000000.0;
		initial = 0;

		//initial parameter in kalman filter
		theta_estimate = angle_rad_start;
		omega_estimate = 0;
		p_estimate11 = 1 ;
		p_estimate12 = 0 ;
		p_estimate21 = 0 ;
		p_estimate22 = 1 ;

	}
	if (initial == 0 && angle_rad_stop - angle_rad_start != 0)
	{
		//at the final point
		//tau = (micros()/1000000.0)-time_initial ; in second unit
		if ((micros()/1000000.0)-time_initial >= tau_max)
		{
			initial = 1;
			angle_rad_start = Position_Now_Rad;
			PWM_Out = 0;
			__HAL_TIM_SET_COMPARE(&htim3, PWM_CHANNEL, PWM_Out);
			error_position = 0;
			error_position_diff = 0;
			error_position_int = 0;
			error_position_prev = 0;
			error_velocity = 0;
			error_velocity_diff = 0;
			error_velocity_int = 0;
			error_velocity_prev = 0;
		}
		else //on going to final point
		{
			//tau = real time - initial time (duration in second unit)
			tau = micros()/1000000.0 - time_initial;
			desired_position = c_0*powf(tau,0) + c_1*powf(tau,1) + c_2*powf(tau,2) + c_3*powf(tau,3) + c_4*powf(tau,4) + c_5*powf(tau,5);
			desired_velocity = 0 + c_1 + 2*c_2*powf(tau,1) + 3*c_3*powf(tau,2) + 4*c_4*powf(tau,3) + 5*c_5*powf(tau,4);

			//kalman filter
			Kalman_Filter();

			//cascade control
			cascade_control_with_feed_forward();
		}
	}
}
void cascade_control_with_feed_forward()
{
	if (angle_rad_start < angle_rad_stop)
	{
		position_kd = 0;
		position_ki = 0;
		position_kp = 0.25;
		velocity_kd = 0;
		velocity_ki = 6000;
		velocity_kp = 8000;
	}
	else
	{
		position_kd = 0;
		position_ki = 0;
		position_kp = 0.5;
		velocity_kd = 0;
		velocity_ki = 1500;
		velocity_kp = 3000; // 4000
	}

	//position control
	error_position = desired_position - Position_Now_Rad;
	error_position_diff = (error_position - error_position_prev)*1000.0;
	error_position_int = error_position_int + error_position/1000.0;
	command_velocity = position_kp*error_position + position_ki*error_position_int + position_kd*error_position_diff + position_bias;
	error_position_prev = error_position;

	//limit velocity
	if (command_velocity > 1)
	{
		command_velocity = 1;
	}
	else if (command_velocity < -1)
	{
		command_velocity = -1;
	}

	//velocity control
	error_velocity = desired_velocity - omega_estimate + command_velocity;
	error_velocity_diff = (error_velocity - error_velocity_prev)*1000.0;
	error_velocity_int = error_velocity_int + error_velocity/1000.0;
	PWM_Out = velocity_kp*error_velocity + velocity_ki*error_velocity_int + velocity_kd*error_velocity_diff + velocity_bias;
	error_velocity_prev = error_velocity;

	//limit pwm
	if (PWM_Out > 10000)
	{
		PWM_Out = 10000;
	}
	else if (PWM_Out < -10000)
	{
		PWM_Out = -10000;
	}

	//control motor direction
	if (PWM_Out < 0)
//	if (angle_rad_start > angle_rad_stop)
	{
		__HAL_TIM_SET_COMPARE(&htim3, PWM_CHANNEL, abs(PWM_Out));
		HAL_GPIO_WritePin(GPIOB, GPIO_PIN_DIRECTION, GPIO_PIN_RESET);
	}
	else
	{
		__HAL_TIM_SET_COMPARE(&htim3, PWM_CHANNEL, abs(PWM_Out));
		HAL_GPIO_WritePin(GPIOB, GPIO_PIN_DIRECTION, GPIO_PIN_SET);
	}
}
void Kalman_Filter()
{
	theta_predict = theta_estimate + omega_estimate*CON_T;
	omega_predict = omega_estimate;
	//p_predict = A*p_estimate*transpose(A) + G*Q*transpose(G)
	//p_predict = [p_predict11 p_predict12 ; p_predict21 p_predict22]
	//p_estimate = [p_estimate11 p_estimate12 ; p_estimate21 p_estimate22] -> initial [1 0; 0 1]
	//G = [0.5*dt^2 ; dt]
	//Q = Sigma_a^2
	Q = powf(Sigma_a,2);
	p_predict11 = p_estimate11 + (p_estimate12 + p_estimate21)*CON_T + p_estimate22*powf(CON_T,2)+powf(CON_T,4)*Q/4.0;
	p_predict12 = p_estimate12 + p_estimate22*CON_T + powf(CON_T,3)*Q/2.0;
	p_predict21 = p_estimate21 + p_estimate22*CON_T + powf(CON_T,3)*Q/2.0;
	p_predict22 = p_estimate22 + powf(CON_T,2)*Q;

	//update
	//z_predict = z - C*x_predict
	//z_predict = theta_error
	//z = sensor_theta_input
	//C = [0 1]
	z_predict = Velocity_Now_Rad - omega_predict;

	//S = C*p_predict*transpose(C) + R
	//R = Sigma_w^2
	R = powf(Sigma_w,2);
	s = p_predict22 + R;

	//K = p_predict*transpose(C)*inv(S)
	//K = [k11;k21]
	k11 = p_predict12/s;
	k21 = p_predict22/s;

	//x_estimate = x_predict + K*z_predict
	theta_estimate = theta_predict + k11*z_predict;
	omega_estimate = omega_predict + k21*z_predict;

	//p_estimate = (I - K*C)*p_predict
	//I = [1 0; 0 1]
	p_estimate11 = (p_predict11*(p_predict22+R)-p_predict12*p_predict21)/s;
	p_estimate12 = p_predict12*R/s;
	p_estimate21 = p_predict21*R/s;
	p_estimate22 = p_predict22*R/s;
}

void Home_Setting()
{
	switch (STATE_DISPLAY)
	{
	case FindPorximity:
		PWM_Out = 5000;
		__HAL_TIM_SET_COMPARE(&htim3, PWM_CHANNEL, abs(PWM_Out));
		HAL_GPIO_WritePin(GPIOB, GPIO_PIN_DIRECTION, GPIO_PIN_SET);
		if (Proximity[0] == GPIO_PIN_SET && Proximity[1] == GPIO_PIN_RESET) //if not set home & proximity detects robot arm
		{
			find_proximity = 1;
			save_angle = Position_Now_Rad; //save angle that proximity detect robot arm
			Time_Delay = micros();
			Prox_Delay = micros();
			STATE_DISPLAY = FoundProximity;
		}
		break;
	case FoundProximity:
		if(micros() - Time_Delay >= 1000000){
			Time_Delay = micros();
			for ( i = 0; i < 8; ++i) {
					PWM_Out = 3*PWM_Out/4;
					__HAL_TIM_SET_COMPARE(&htim3, PWM_CHANNEL, abs(PWM_Out));
			}
		}

		if(i == 8){
			if (micros() - Prox_Delay >= 500000){
				Prox_Delay = micros();
				Delay += 1;
			}
			if(Delay >= 2){
				STATE_DISPLAY = GotoProximity;
			}

		}
		break;
	case GotoProximity:
		angle_rad_start = Position_Now_Rad;
		angle_rad_stop = save_angle;
		STATE_DISPLAY = QinticFinish;
		break;
	case QinticStaff:
		i = 0;
		j=0;
		quintic();
		if (initial == 1){
			if (micros() - Prox_Delay >= 500000){
				Prox_Delay = micros();
				Delay += 1;
			}
			if(Delay >= 5){
				STATE_DISPLAY = GotoProximity;
			}
		}

		break;
	case QinticFinish:
		quintic();
		if (initial == 1){
			if (micros()/1000000.0 - time_initial >= tau_max + 2)
			{
				Prox_Delay = micros();
				set_home_finished = 1;
				angle_rad_start = 0;
				angle_rad_stop = 0;
				htim1.Instance->CNT = 0;
				Position_Now_Rad = 0;
				clear_counter_position = 1;
				clear_counter_velocity = 1;
			}

		}
		break;
	default:
		break;
	}
}
void UARTInit(UARTStucrture *uart)
{
	//dynamic memory allocate
	uart->RxBuffer = (uint8_t*) calloc(sizeof(uint8_t), UART2.RxLen);
	uart->TxBuffer = (uint8_t*) calloc(sizeof(uint8_t), UART2.TxLen);
	uart->RxTail = 0;
	uart->TxTail = 0;
	uart->TxHead = 0;

}

void UARTResetStart(UARTStucrture *uart)
{
	HAL_UART_Receive_DMA(uart->huart, uart->RxBuffer, uart->RxLen);
}
uint32_t UARTGetRxHead(UARTStucrture *uart)
{
	return uart->RxLen - __HAL_DMA_GET_COUNTER(uart->huart->hdmarx);
}
int16_t UARTReadChar(UARTStucrture *uart)
{
	int16_t Result = -1; // -1 Mean no new data

	//check Buffer Position
	if (uart->RxTail != UARTGetRxHead(uart))
	{
		//get data from buffer
		Result = uart->RxBuffer[uart->RxTail];
		uart->RxTail = (uart->RxTail + 1) % uart->RxLen;

	}
	return Result;

}
void UARTTxDumpBuffer(UARTStucrture *uart)
{
	static uint8_t MultiProcessBlocker = 0;

	if (uart->huart->gState == HAL_UART_STATE_READY && !MultiProcessBlocker)
	{
		MultiProcessBlocker = 1;

		if (uart->TxHead != uart->TxTail)
		{
			//find len of data in buffer (Circular buffer but do in one way)
			uint16_t sentingLen =
					uart->TxHead > uart->TxTail ?
							uart->TxHead - uart->TxTail :
							uart->TxLen - uart->TxTail;

			//sent data via DMA
			HAL_UART_Transmit_DMA(uart->huart, &(uart->TxBuffer[uart->TxTail]),
					sentingLen);
			//move tail to new position
			uart->TxTail = (uart->TxTail + sentingLen) % uart->TxLen;

		}
		MultiProcessBlocker = 0;
	}
}
void UARTTxWrite(UARTStucrture *uart, uint8_t *pData, uint16_t len)
{
	//check data len is more than buffur?
	uint16_t lenAddBuffer = (len <= uart->TxLen) ? len : uart->TxLen;
	// find number of data before end of ring buffer
	uint16_t numberOfdataCanCopy =
			lenAddBuffer <= uart->TxLen - uart->TxHead ?
					lenAddBuffer : uart->TxLen - uart->TxHead;
	//copy data to the buffer
	memcpy(&(uart->TxBuffer[uart->TxHead]), pData, numberOfdataCanCopy);

	//Move Head to new position

	uart->TxHead = (uart->TxHead + lenAddBuffer) % uart->TxLen;
	//Check that we copy all data That We can?
	if (lenAddBuffer != numberOfdataCanCopy)
	{
		memcpy(uart->TxBuffer, &(pData[numberOfdataCanCopy]),
				lenAddBuffer - numberOfdataCanCopy);
	}
	UARTTxDumpBuffer(uart);

}
void UART_Protocol(UARTStucrture *uart, int16_t dataIn)
{
	if (State == Start_Mode)
	{
		N_Data = 0;
		Data_List[0] = 0;
		Data_List[1] = 0;
	}
	switch (State)
	{
	case Start_Mode:
		Mode = dataIn;

		switch (Mode)
		{
		case Ack2:
			Frame = 0;
			State = Check_Sum;
			break;
		case Ack1:
			Frame = 0;
			State = Check_Sum;
			break;
		case Test_Command:
			Frame = 2;
			State = Data_Frame;
			break;
		case Connect_MCU:
			Frame = 0;
			State = Check_Sum;
			break;
		case Disconnect_MCU:
			Frame = 1;
			State = Check_Sum;
			break;
		case Velocity_Set:
			Frame = 2;
			State = Data_Frame;
			break;
		case Position_Set:
			Frame = 2;
			State = Data_Frame;
			break;
		case Goal_1_Set:
			Frame = 2;
			State = Data_Frame;
			break;
		case Goal_N_Set:
			Frame = 3;
			State = N_Station;
			break;
		case Go_to_Goal:
			Frame = 1;
			State = Check_Sum;
			break;
		case Station_Request:
			Frame = 1;
			State = Check_Sum;
			break;
		case Position_Request:
			Frame = 1;
			State = Check_Sum;
			break;
		case Velocity_Request:
			Frame = 1;
			State = Check_Sum;
			break;
		case Gripper_On:
			Frame = 1;
			State = Check_Sum;
			break;
		case Gripper_Off:
			Frame = 1;
			State = Check_Sum;
			break;
		case Home_Set:
			Frame = 1;
			State = Check_Sum;
			break;
		default:
			State = Start_Mode;
			Mode = 144;
			Frame = 0;
			Sum = 0;
			N = 0;
			len = 0;
			Error = 1;

			break;
		break;
		}
		break;
	case N_Station:
		N_Goal = dataIn;
		Goal_Count = 0;
		State = Data_Frame;
		break;
	case Data_Frame:
		if (Mode != Goal_N_Set)
		{
			Data_List[N_Data] = dataIn;
			N_Data += 1;
		}
		else
		{
			Goal_List[Goal_Count] = dataIn & 0b1111;
			Goal_List[Goal_Count + 1] = dataIn >> 4;
			Goal_Count += 2;
		}
		switch (Mode)
		{
		case Test_Command:
			if (N_Data == 1)
			{
				State = Check_Sum;
			}
			break;
		case Velocity_Set:
			if (N_Data == 1)
			{
				State = Check_Sum;
			}
			break;
		case Position_Set:
			if (N_Data == 2)
			{
				State = Check_Sum;
			}
			break;
		case Goal_1_Set:
			if (N_Data == 1)
			{
				State = Check_Sum;
			}
			break;
		case Goal_N_Set:
			if (Goal_Count >= N_Goal)
			{
				Goal_Count = N_Goal;
				State = Check_Sum;
			}
			break;
		default:
			break;
		break;
		}

		break;
	case Check_Sum:
		Sum = dataIn;
		uint8_t Data_Sum = 0;
		switch (Frame)
		{
		case 0:
			if (Mode == Ack1)
			{
				if(Sum != 117)
				{
					Error = 3;
				}
			}
			else if (Mode == Ack2)
			{
				if(Sum != 110)
				{
					Error = 3;
				}
			}
			else if (Mode == Connect_MCU)
			{
				if (Sum == (uint8_t)~Mode)
				{
					Connected = 1;
				}
			}
		case 1:
			if (Sum == (uint8_t)~Mode)
			{
				UART_Do_Command();
			}
			else
			{
				State = Start_Mode;
				Mode = 144;
				Frame = 0;
				Sum = 0;
				N = 0;
				len = 0;
				N_Data = 0;
				Error = 2;
			}
			break;
		case 2:
			if (Sum == (uint8_t)~(Mode+Data_List[0]+Data_List[1]))
			{
				UART_Do_Command();
			}
			else
			{
				State = Start_Mode;
				Mode = 144;
				Frame = 0;
				Sum = 0;
				N = 0;
				len = 0;
				N_Data = 0;
				Error = 2;
			}
			break;
		case 3:
			for (uint8_t i=0; i<N_Goal; i+=2)
			{
				Data_Sum += Goal_List[i]|(Goal_List[i+1]<<4);
			}
			if (Sum == (uint8_t)~(Mode+N_Goal+Data_Sum))
			{
				UART_Do_Command();
			}
			else
			{
				State = Start_Mode;
				Mode = 144;
				Frame = 0;
				Sum = 0;
				N = 0;
				len = 0;
				N_Data = 0;
				Error = 2;
			}
			break;
		break;
		}

	State = Start_Mode;
	break;
	}

}
void UART_Do_Command()
{
	if (Connected)
	{	uint8_t Answer[] = {0, 0, 0, 0};
		Answer[0] = Mode;
		UARTTxWrite(&UART2, UART_Ack1, 2);
		HAL_Delay(1);

		switch (Mode)
		{
		case Test_Command: //F2

			Answer[1] = Data_List[0];
			Answer[2] = Sum;
			UARTTxWrite(&UART2, Answer, 3);
			HAL_Delay(1);
			break;
		case Connect_MCU: //F1
			Connected = 1;
			break;
		case Disconnect_MCU: //F1
			Connected = 0;
			break;
		case Velocity_Set: //F2
			Velocity_Max_RPM = (float)Data_List[0] * 10 / 255;
			break;
		case Position_Set: //F2
			angle_rad_stop = (float)HighLow2Decimal(Data_List[0], Data_List[1])/10000;
			break;
		case Goal_1_Set: //F2
			Next_Station = Data_List[0];
			angle_rad_stop = (float)Station_List[Data_List[0]]*pi/180;
			break;
		case Goal_N_Set: //F3
			Next_Station = Goal_List[N_Goal-Goal_Count];
			angle_rad_stop = (float)Station_List[Next_Station-1]*pi/180;
			break;
		case Go_to_Goal: //F2
			GO = 1;
			break;
		case Station_Request: //F1
			Answer[1] = Current_Station;
			Answer[2] = (uint8_t)~(Answer[0] + Answer[1]);
			UARTTxWrite(&UART2, Answer, 3);
			break;
		case Position_Request: //F1
			Answer[1] = Decimal2High(Position_Now_Rad*10000);
			Answer[2] = Decimal2Low(Position_Now_Rad*10000);
			Answer[3] = (uint8_t)~(Answer[0] + Answer[1] + Answer[2]);
			UARTTxWrite(&UART2, Answer, 4);
			break;
		case Velocity_Request: //F1
			Answer[1] = ((uint8_t)round(Velocity_Max_RPM *255 /10));
			Answer[2] = (uint8_t)~(Answer[0] + Answer[1]);
			UARTTxWrite(&UART2, Answer, 3);
			break;
		case Gripper_On: //F1
			Effector_On = 1;
			break;
		case Gripper_Off: //F1
			Effector_On = 0;
			break;
		case Home_Set: //F1
			STATE_DISPLAY = FindPorximity;
			Home_Setting();
			break;
		default:
			break;
		break;
		}
	}

	len = 0;

}
uint8_t Decimal2High(uint16_t integer)
{
	return (uint8_t)((integer>>8) & 0xff);
}
uint8_t Decimal2Low(uint16_t integer)
{
	return (uint8_t)(integer & 0xff);
}
uint16_t HighLow2Decimal(uint8_t high_byte, uint8_t low_byte)
{
	uint16_t high = (high_byte & 0xff) <<8;
	uint16_t low = low_byte & 0xff;
	return high|low;
}
void HAL_TIM_PeriodElapsedCallback(TIM_HandleTypeDef *htim)
{
	if (htim == &htim2)
	{
		_micros += 4294967295;
	}
}
uint64_t micros()
{
	return _micros + htim2.Instance->CNT;
}
/* USER CODE END 4 */

void Error_Handler(void)
{
  __disable_irq();
  while (1)
  {
  }
}

/************************ (C) COPYRIGHT STMicroelectronics *****END OF FILE****/
